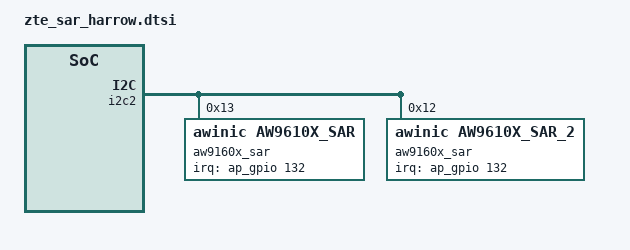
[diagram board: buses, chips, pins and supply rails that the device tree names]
/* add zte sar start */
&i2c2 {
	status = "okay";
	aw9160x_sar@13 {
		compatible = "awinic,aw9610x_sar";
		reg = <0x13>;

		irq-gpio = <&ap_gpio 132 0>;
		chip_name = "AW96103";
		status = "okay" ;
	};

	aw9160x_sar@12 {
		compatible = "awinic,aw9610x_sar_2";
		reg = <0x12>;

		irq-gpio = <&ap_gpio 132 0>;
		chip_name = "AW96103";
		status = "okay" ;
	};
};

/* add zte sar end */
